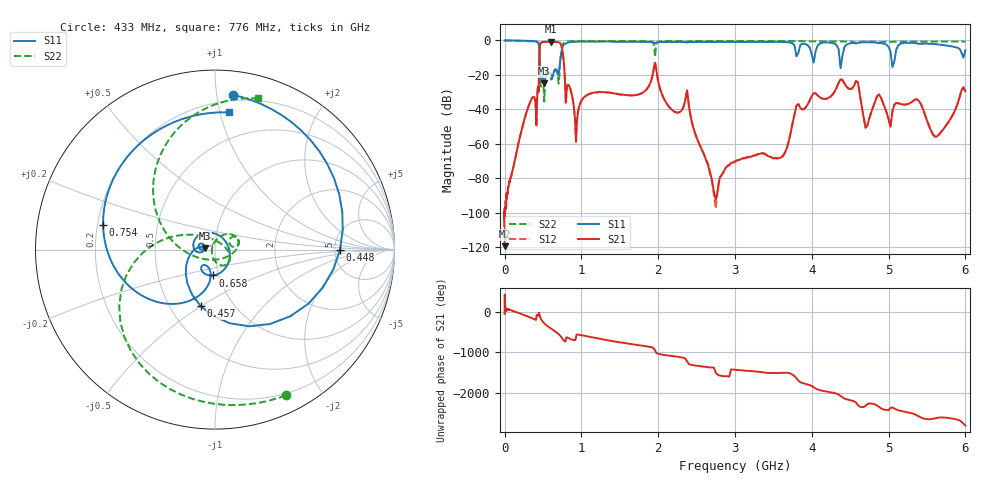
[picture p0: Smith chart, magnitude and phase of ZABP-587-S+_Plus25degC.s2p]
! Mini-Circuits
! S2P DATA File Format
! Type: BAND PASS FILTER
! Model: ZABP-587-S+
! All S Parameters are in MAG PHASE format
! TEST CONDITIONS: INPUT POWER = 0 dBm @ Temperature = +25deg C
# MHz S DB R 50
!FREQ  MAG(S11)PHS(S11) MAG(S21)PHS(S21)MAG(S12)PHS(S12)MAG(S22)PHS(S22)
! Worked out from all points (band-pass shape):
!   1001 points, 500 kHz to 6 GHz, reference 50 ohm
!   highest |S21| = -0.73 dB at 606 MHz (marker M1); lowest = -119.3 dB at 4 MHz (marker M2)
!   |S21| within 3 dB of the highest: 458.8 MHz to 743.9 MHz (285.1 MHz wide, 47.4 % of centre)
!   lowest |S11| = -24.8 dB at 514 MHz (marker M3), VSWR 1.12, Z = 44.6 + j0.766 ohm
!   |S11| at or under -10 dB: 457.2 MHz to 728.7 MHz (271.5 MHz wide, 45.8 % of centre); 4.01 GHz to 4.035 GHz (25.53 MHz wide, 0.635 % of centre); 5.035 GHz to 5.083 GHz (47.92 MHz wide, 0.947 % of centre)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
!   |S22| runs from -35.4 to 0.0 dB; largest |S21 - S12| = 0.00048
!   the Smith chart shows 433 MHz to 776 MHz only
!   S11 on the Smith chart (normalised r, x): 433 MHz: 0.16, +1.11; 448 MHz: 5.58, -0.01; 457 MHz: 0.71, -0.50; 658 MHz: 0.94, -0.28; 754 MHz: 0.22, +0.10; 776 MHz: 0.28, +1.06
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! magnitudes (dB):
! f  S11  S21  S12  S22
! 500 kHz  0.0  -103.5  -99.9  0.0
! 2.5 MHz  0.0  -100.1  -99.4  0.0
! 4 MHz  0.0  -119.3  -105.0  0.0
! 15 MHz  0.0  -96.7  -97.4  0.0
! 55 MHz  0.0  -83.8  -83.0  0.0
! 265 MHz  -0.1  -44.6  -44.6  -0.4
! 433 MHz  -1.2  -27.4  -27.4  -0.9
! 448 MHz  -3.1  -19.1  -19.1  -2.1
! 457 MHz  -9.8  -4.8  -4.8  -7.8
! 514 MHz  -24.8  -0.8  -0.8  -33.7
! 606 MHz  -22.5  -0.7  -0.7  -20.4
! 658 MHz  -16.8  -0.9  -0.9  -17.2
! 754 MHz  -3.9  -6.0  -6.0  -3.3
! 776 MHz  -2.3  -15.3  -15.3  -1.2
! 930 MHz  -0.7  -58.8  -58.7  -0.3
! 1.255 GHz  -0.6  -29.9  -29.9  -0.3
! 1.96 GHz  -1.7  -13.0  -13.0  -9.6
! 2.8 GHz  -0.8  -79.8  -79.4  -0.3
! 3.575 GHz  -0.8  -68.1  -68.0  -0.3
! 4.45 GHz  -2.5  -26.7  -26.7  -0.6
! 5.65 GHz  -2.3  -54.9  -54.9  -0.7
! 6 GHz  -5.7  -29.5  -29.5  -0.6
